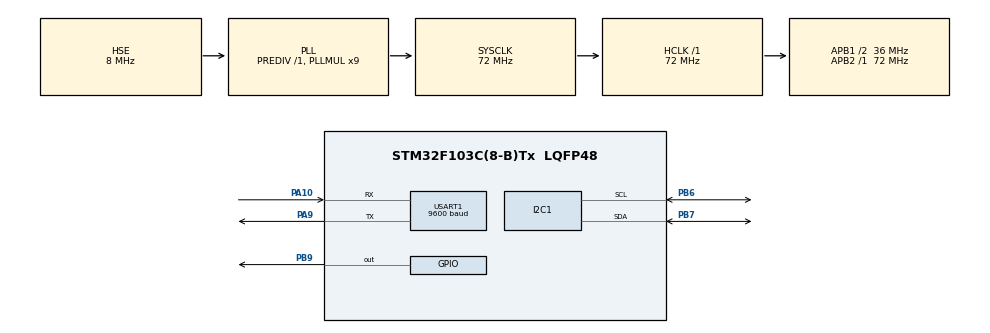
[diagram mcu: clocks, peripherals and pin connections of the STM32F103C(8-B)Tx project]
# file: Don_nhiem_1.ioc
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Mcu.Family=STM32F1
Mcu.Name=STM32F103C(8-B)Tx
Mcu.Package=LQFP48
NVIC.PriorityGroup=NVIC_PRIORITYGROUP_4
NVIC.USART1_IRQn=true\:0\:0\:false\:false\:true\:true\:true\:true
PA10.Mode=Asynchronous
PA10.Signal=USART1_RX
PA13.Mode=Serial_Wire
PA13.Signal=SYS_JTMS-SWDIO
PA14.Mode=Serial_Wire
PA14.Signal=SYS_JTCK-SWCLK
PA9.Mode=Asynchronous
PA9.Signal=USART1_TX
PB6.Mode=I2C
PB6.Signal=I2C1_SCL
PB7.Mode=I2C
PB7.Signal=I2C1_SDA
PB9.Signal=GPIO_Output
PD0-OSC_IN.Mode=HSE-External-Oscillator
PD0-OSC_IN.Signal=RCC_OSC_IN
PD1-OSC_OUT.Mode=HSE-External-Oscillator
PD1-OSC_OUT.Signal=RCC_OSC_OUT
ProjectManager.HeapSize=0x200
ProjectManager.StackSize=0x400
ProjectManager.TargetToolchain=STM32CubeIDE
RCC.AHBFreq_Value=72000000
RCC.APB1CLKDivider=RCC_HCLK_DIV2
RCC.APB1Freq_Value=36000000
RCC.APB1TimFreq_Value=72000000
RCC.APB2Freq_Value=72000000
RCC.APB2TimFreq_Value=72000000
RCC.HCLKFreq_Value=72000000
RCC.PLLMUL=RCC_PLL_MUL9
RCC.PLLSourceVirtual=RCC_PLLSOURCE_HSE
RCC.SYSCLKFreq_VALUE=72000000
RCC.SYSCLKSource=RCC_SYSCLKSOURCE_PLLCLK
RCC.USBFreq_Value=72000000
USART1.BaudRate=9600
USART1.VirtualMode=VM_ASYNC
VP_TIM1_VS_ClockSourceINT.Mode=Internal
board=custom

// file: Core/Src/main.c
/* USER CODE BEGIN Header */
/**
  ******************************************************************************
  * @file           : main.c
  * @brief          : Main program body
  ******************************************************************************
  * @attention
  *
  * Copyright (c) 2025 STMicroelectronics.
  * All rights reserved.
  *
  * This software is licensed under terms that can be found in the LICENSE file
  * in the root directory of this software component.
  * If no LICENSE file comes with this software, it is provided AS-IS.
  *
  ******************************************************************************
  */
/* USER CODE END Header */
#include "main.h"
#include "ssd1306.h"
#include "fonts.h"
#include "stdio.h"

I2C_HandleTypeDef hi2c1;

TIM_HandleTypeDef htim1;

UART_HandleTypeDef huart1;

void SystemClock_Config(void);
static void MX_GPIO_Init(void);
static void MX_I2C1_Init(void);
static void MX_USART1_UART_Init(void);
static void MX_TIM1_Init(void);

/* USER CODE BEGIN 0 */
#define DHT11_PORT GPIOB
#define DHT11_PIN GPIO_PIN_9
uint8_t RHI, RHD, TCI, TCD, SUM;
uint32_t pMillis, cMillis;
float temp = 0;
float humi = 0;

char strCopy[20];

void microDelay (uint16_t delay)
{
  __HAL_TIM_SET_COUNTER(&htim1, 0);
  while (__HAL_TIM_GET_COUNTER(&htim1) < delay);
}

uint8_t DHT11_Start (void)
{
  uint8_t Response = 0;
  GPIO_InitTypeDef GPIO_InitStructPrivate = {0};
  GPIO_InitStructPrivate.Pin = DHT11_PIN;
  GPIO_InitStructPrivate.Mode = GPIO_MODE_OUTPUT_PP;
  GPIO_InitStructPrivate.Speed = GPIO_SPEED_FREQ_LOW;
  GPIO_InitStructPrivate.Pull = GPIO_NOPULL;
  HAL_GPIO_Init(DHT11_PORT, &GPIO_InitStructPrivate); // set the pin as output
  HAL_GPIO_WritePin (DHT11_PORT, DHT11_PIN, 0);   // pull the pin low
  HAL_Delay(20);   // wait for 20ms
  HAL_GPIO_WritePin (DHT11_PORT, DHT11_PIN, 1);   // pull the pin high
  microDelay (30);   // wait for 30us
  GPIO_InitStructPrivate.Mode = GPIO_MODE_INPUT;
  GPIO_InitStructPrivate.Pull = GPIO_PULLUP;
  HAL_GPIO_Init(DHT11_PORT, &GPIO_InitStructPrivate); // set the pin as input
  microDelay (40);
  if (!(HAL_GPIO_ReadPin (DHT11_PORT, DHT11_PIN)))
  {
    microDelay (80);
    if ((HAL_GPIO_ReadPin (DHT11_PORT, DHT11_PIN))) Response = 1;
  }
  pMillis = HAL_GetTick();
  cMillis = HAL_GetTick();
  while ((HAL_GPIO_ReadPin (DHT11_PORT, DHT11_PIN)) && pMillis + 2 > cMillis)
  {
    cMillis = HAL_GetTick();
  }
  return Response;
}

uint8_t DHT11_Read (void)
{
  uint8_t a,b;
  for (a=0;a<8;a++)
  {
    pMillis = HAL_GetTick();
    cMillis = HAL_GetTick();
    while (!(HAL_GPIO_ReadPin (DHT11_PORT, DHT11_PIN)) && pMillis + 2 > cMillis)
    {  // wait for the pin to go high
      cMillis = HAL_GetTick();
    }
    microDelay (40);   // wait for 40 us
    if (!(HAL_GPIO_ReadPin (DHT11_PORT, DHT11_PIN)))   // if the pin is low
      b&= ~(1<<(7-a));
    else
      b|= (1<<(7-a));
    pMillis = HAL_GetTick();
    cMillis = HAL_GetTick();
    while ((HAL_GPIO_ReadPin (DHT11_PORT, DHT11_PIN)) && pMillis + 2 > cMillis)
    {  // wait for the pin to go low
      cMillis = HAL_GetTick();
    }
  }
  return b;
}
void DO_NHIET_DO(void)
{
	 if(DHT11_Start())
		      {
		        RHI = DHT11_Read(); // Relative humidity integral
		        RHD = DHT11_Read(); // Relative humidity decimal
		        TCI = DHT11_Read(); // Celsius integral
		        TCD = DHT11_Read(); // Celsius decimal
		        SUM = DHT11_Read(); // Check sum
		        if (RHI + RHD + TCI + TCD == SUM)
		        {

		         temp = (float)TCI + (float)(TCD/10.0);

}
		      }
	 HAL_Delay(950);
}

void DO_DO_AM(void)
{
	 if(DHT11_Start())
		      {
		        RHI = DHT11_Read(); // Relative humidity integral
		        RHD = DHT11_Read(); // Relative humidity decimal
		        TCI = DHT11_Read(); // Celsius integral
		        TCD = DHT11_Read(); // Celsius decimal
		        SUM = DHT11_Read(); // Check sum
		       if (RHI + RHD + TCI + TCD == SUM)
		       		        {
		          humi = (float)RHI + (float)(RHD/10.0);
}
		      }
	 HAL_Delay(950);
}
void HIEN_THI_OLED()
{
	              SSD1306_Clear();
	              sprintf(strCopy,"TEMP :%.1f C  ", temp);
		          SSD1306_GotoXY (0, 0);
		          SSD1306_Puts (strCopy, &Font_7x10, 1);
		          sprintf(strCopy,"HUMI :%.1f %%  ",humi);
		          SSD1306_GotoXY (0, 30);
		          SSD1306_Puts (strCopy, &Font_7x10, 1);
		          SSD1306_UpdateScreen();
		          HAL_Delay(1900);
}
void TRUYEN_UART()
{
    char buffer[100];

    snprintf(buffer, sizeof(buffer), "Temperature: %.1f C, Humidity: %.1f %%\r\n", temp,humi);

    if (HAL_UART_Transmit(&huart1, (uint8_t*)buffer, strlen(buffer), HAL_MAX_DELAY) != HAL_OK)
    {

        Error_Handler();
    }
    HAL_Delay(1900);
}

/* USER CODE END 0 */

int main(void)
{

  /* USER CODE BEGIN 1 */
  uint8_t i = 0;
  void(*stt_task_point_array[])(void) = {DO_NHIET_DO,DO_DO_AM,HIEN_THI_OLED,DO_NHIET_DO,DO_DO_AM,TRUYEN_UART};
  const uint16_t tk[6]={0,1000,2000,4000,5000,6000};
  const uint16_t P = 8000;
  const uint8_t n = 6;

  /* USER CODE END 1 */

  /* MCU Configuration--------------------------------------------------------*/

  /* Reset of all peripherals, Initializes the Flash interface and the Systick. */
  HAL_Init();

  /* Configure the system clock */
  SystemClock_Config();

  /* Initialize all configured peripherals */
  MX_GPIO_Init();
  MX_I2C1_Init();
  MX_USART1_UART_Init();
  MX_TIM1_Init();
  /* USER CODE BEGIN 2 */
  HAL_TIM_Base_Start(&htim1);
    SSD1306_Init();

  /* USER CODE END 2 */

  /* Infinite loop */
  /* USER CODE BEGIN WHILE */
      DO_NHIET_DO();
      DO_DO_AM();
      HAL_Delay(500);
    uwTick = 0;

  while (1)
  {
    /* USER CODE END WHILE */
	  if((uwTick%P)== tk[i%n])
	  	  {
	  	 	  	  		stt_task_point_array[i%n]();
	  					i++;
	  	  }
  }
}

void SystemClock_Config(void)
{
  RCC_OscInitTypeDef RCC_OscInitStruct = {0};
  RCC_ClkInitTypeDef RCC_ClkInitStruct = {0};

  /** Initializes the RCC Oscillators according to the specified parameters
  * in the RCC_OscInitTypeDef structure.
  */
  RCC_OscInitStruct.OscillatorType = RCC_OSCILLATORTYPE_HSE;
  RCC_OscInitStruct.HSEState = RCC_HSE_ON;
  RCC_OscInitStruct.HSEPredivValue = RCC_HSE_PREDIV_DIV1;
  RCC_OscInitStruct.HSIState = RCC_HSI_ON;
  RCC_OscInitStruct.PLL.PLLState = RCC_PLL_ON;
  RCC_OscInitStruct.PLL.PLLSource = RCC_PLLSOURCE_HSE;
  RCC_OscInitStruct.PLL.PLLMUL = RCC_PLL_MUL9;
  if (HAL_RCC_OscConfig(&RCC_OscInitStruct) != HAL_OK)
  {
    Error_Handler();
  }

  /** Initializes the CPU, AHB and APB buses clocks
  */
  RCC_ClkInitStruct.ClockType = RCC_CLOCKTYPE_HCLK|RCC_CLOCKTYPE_SYSCLK
                              |RCC_CLOCKTYPE_PCLK1|RCC_CLOCKTYPE_PCLK2;
  RCC_ClkInitStruct.SYSCLKSource = RCC_SYSCLKSOURCE_PLLCLK;
  RCC_ClkInitStruct.AHBCLKDivider = RCC_SYSCLK_DIV1;
  RCC_ClkInitStruct.APB1CLKDivider = RCC_HCLK_DIV2;
  RCC_ClkInitStruct.APB2CLKDivider = RCC_HCLK_DIV1;

  if (HAL_RCC_ClockConfig(&RCC_ClkInitStruct, FLASH_LATENCY_2) != HAL_OK)
  {
    Error_Handler();
  }
}

static void MX_I2C1_Init(void)
{

  hi2c1.Instance = I2C1;
  hi2c1.Init.ClockSpeed = 400000;
  hi2c1.Init.DutyCycle = I2C_DUTYCYCLE_2;
  hi2c1.Init.OwnAddress1 = 0;
  hi2c1.Init.AddressingMode = I2C_ADDRESSINGMODE_7BIT;
  hi2c1.Init.DualAddressMode = I2C_DUALADDRESS_DISABLE;
  hi2c1.Init.OwnAddress2 = 0;
  hi2c1.Init.GeneralCallMode = I2C_GENERALCALL_DISABLE;
  hi2c1.Init.NoStretchMode = I2C_NOSTRETCH_DISABLE;
  if (HAL_I2C_Init(&hi2c1) != HAL_OK)
  {
    Error_Handler();
  }

}

static void MX_TIM1_Init(void)
{

  TIM_ClockConfigTypeDef sClockSourceConfig = {0};
  TIM_MasterConfigTypeDef sMasterConfig = {0};

  htim1.Instance = TIM1;
  htim1.Init.Prescaler = 71;
  htim1.Init.CounterMode = TIM_COUNTERMODE_UP;
  htim1.Init.Period = 65535;
  htim1.Init.ClockDivision = TIM_CLOCKDIVISION_DIV1;
  htim1.Init.RepetitionCounter = 0;
  htim1.Init.AutoReloadPreload = TIM_AUTORELOAD_PRELOAD_DISABLE;
  if (HAL_TIM_Base_Init(&htim1) != HAL_OK)
  {
    Error_Handler();
  }
  sClockSourceConfig.ClockSource = TIM_CLOCKSOURCE_INTERNAL;
  if (HAL_TIM_ConfigClockSource(&htim1, &sClockSourceConfig) != HAL_OK)
  {
    Error_Handler();
  }
  sMasterConfig.MasterOutputTrigger = TIM_TRGO_RESET;
  sMasterConfig.MasterSlaveMode = TIM_MASTERSLAVEMODE_DISABLE;
  if (HAL_TIMEx_MasterConfigSynchronization(&htim1, &sMasterConfig) != HAL_OK)
  {
    Error_Handler();
  }

}

static void MX_USART1_UART_Init(void)
{

  huart1.Instance = USART1;
  huart1.Init.BaudRate = 115200;
  huart1.Init.WordLength = UART_WORDLENGTH_8B;
  huart1.Init.StopBits = UART_STOPBITS_1;
  huart1.Init.Parity = UART_PARITY_NONE;
  huart1.Init.Mode = UART_MODE_TX_RX;
  huart1.Init.HwFlowCtl = UART_HWCONTROL_NONE;
  huart1.Init.OverSampling = UART_OVERSAMPLING_16;
  if (HAL_UART_Init(&huart1) != HAL_OK)
  {
    Error_Handler();
  }

}

static void MX_GPIO_Init(void)
{
  GPIO_InitTypeDef GPIO_InitStruct = {0};

  /* GPIO Ports Clock Enable */
  __HAL_RCC_GPIOD_CLK_ENABLE();
  __HAL_RCC_GPIOA_CLK_ENABLE();
  __HAL_RCC_GPIOB_CLK_ENABLE();

  /*Configure GPIO pin Output Level */
  HAL_GPIO_WritePin(GPIOB, GPIO_PIN_9, GPIO_PIN_RESET);

  /*Configure GPIO pin : PB9 */
  GPIO_InitStruct.Pin = GPIO_PIN_9;
  GPIO_InitStruct.Mode = GPIO_MODE_OUTPUT_PP;
  GPIO_InitStruct.Pull = GPIO_NOPULL;
  GPIO_InitStruct.Speed = GPIO_SPEED_FREQ_LOW;
  HAL_GPIO_Init(GPIOB, &GPIO_InitStruct);

}

void Error_Handler(void)
{
  __disable_irq();
  while (1)
  {
  }
}
